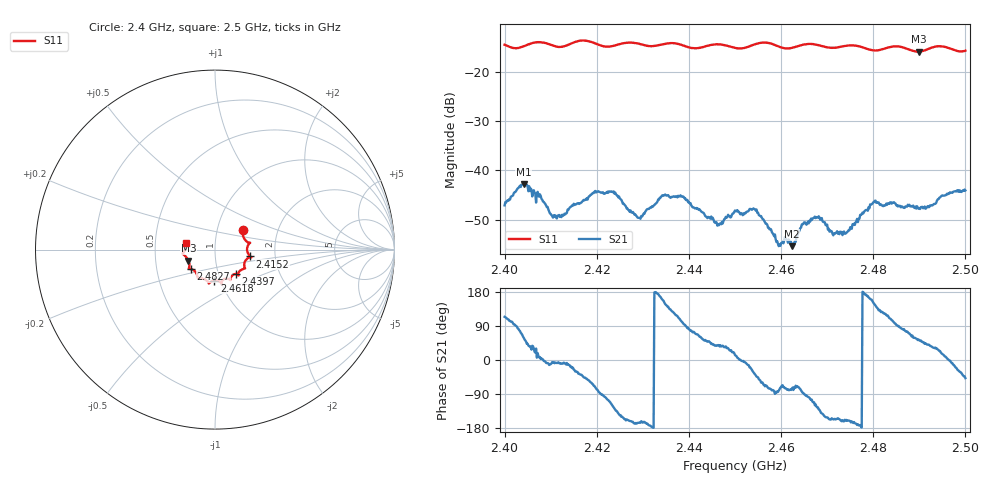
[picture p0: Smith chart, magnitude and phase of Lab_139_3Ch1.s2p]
# Hz S RI R 50
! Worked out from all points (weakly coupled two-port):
!   601 points, 2.4 GHz to 2.5 GHz, reference 50 ohm
!   highest |S21| = -42.74 dB at 2.4042 GHz (marker M1); lowest = -55.4 dB at 2.4623 GHz (marker M2)
!   lowest |S11| = -15.9 dB at 2.4898 GHz (marker M3), VSWR 1.38, Z = 36.9 - j4.63 ohm
!   |S11| at or under -10 dB: start of sweep to end of sweep
!   S12 and S22 are empty: the file has one direction only
!   S11 on the Smith chart (normalised r, x): 2.4 GHz: 1.33, +0.29; 2.4152 GHz: 1.48, -0.12; 2.4397 GHz: 1.21, -0.34; 2.4618 GHz: 0.94, -0.33; 2.4827 GHz: 0.75, -0.17; 2.5 GHz: 0.72, +0.06
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2.4e9  0.1549 0.1069  -0.00179 0.00404  0 0  0 0
2.404167e9  0.1757 0.0459  0.00382 0.00622  0 0  0 0
2.410833e9  0.1813 0.017  0.00338 -0.000509  0 0  0 0
2.415167e9  0.1959 -0.0379  0.00398 -0.002  0 0  0 0
2.416667e9  0.2031 -0.0432  0.00368 -0.00297  0 0  0 0
2.423167e9  0.1632 -0.0792  -0.00272 -0.00549  0 0  0 0
2.429333e9  0.1585 -0.1076  -0.00318 -0.00087  0 0  0 0
2.433333e9  0.1292 -0.1338  -0.00505 0.0005  0 0  0 0
2.439667e9  0.1167 -0.1355  0.000531 0.00499  0 0  0 0
2.4465e9  0.085 -0.1701  0.00216 0.00174  0 0  0 0
2.45e9  0.0657 -0.1622  0.00382 0.000888  0 0  0 0
2.454167e9  0.0358 -0.1856  0.0033 -0.00236  0 0  0 0
2.459333e9  0.0279 -0.1795  0.00018 -0.00178  0 0  0 0
2.461833e9  -0.00319 -0.1729  0.000353 -0.00186  0 0  0 0
2.462333e9  -0.0101 -0.1743  0.000417 -0.00165  0 0  0 0
2.466667e9  -0.0348 -0.1883  -0.000799 -0.00304  0 0  0 0
2.473833e9  -0.0878 -0.1604  -0.00211 -0.000857  0 0  0 0
2.48e9  -0.1101 -0.1228  -0.00417 0.00225  0 0  0 0
2.482667e9  -0.1349 -0.1084  -0.00231 0.00377  0 0  0 0
2.483333e9  -0.14 -0.1081  -0.00181 0.00422  0 0  0 0
2.489833e9  -0.1478 -0.0611  0.00239 0.00331  0 0  0 0
2.5e9  -0.1592 0.0386  0.00421 -0.00464  0 0  0 0
